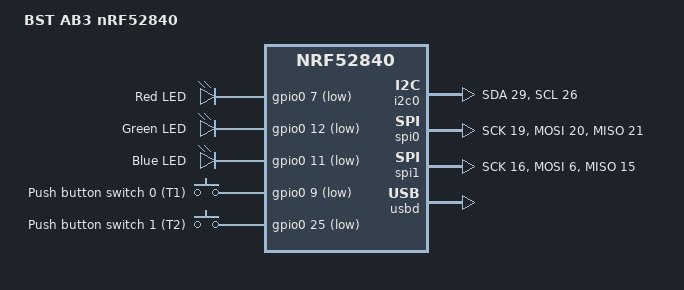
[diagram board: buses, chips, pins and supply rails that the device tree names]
/*
 * Copyright (c) 2022 Bosch Sensortec GmbH
 *
 * SPDX-License-Identifier: Apache-2.0
 */

/dts-v1/;
#include <nordic/nrf52840_qiaa.dtsi>

/ {
	model = "BST AB3 nRF52840";
	compatible = "nordic,bst_ab3_nrf52840";

	chosen {
		zephyr,console = &bst_ab3_cdc_acm_uart;
		zephyr,shell-uart = &bst_ab3_cdc_acm_uart;
		zephyr,bt-c2h-uart = &bst_ab3_cdc_acm_uart;
		zephyr,sram = &sram0;
		zephyr,flash = &flash0;
		zephyr,code-partition = &slot0_partition;
	};

	leds {
		compatible = "gpio-leds";
		led0: led_0 {
			gpios = <&gpio0 7 GPIO_ACTIVE_LOW>;
			label = "Red LED";
		};
		led1: led_1 {
			gpios = <&gpio0 12 GPIO_ACTIVE_LOW>;
			label = "Green LED";
		};
		led2: led_2 {
			gpios = <&gpio0 11 GPIO_ACTIVE_LOW>;
			label = "Blue LED";
		};
	};


	buttons {
		compatible = "gpio-keys";
		button0: button_0 {
			gpios = <&gpio0 9 (GPIO_PULL_UP | \
					    GPIO_ACTIVE_LOW)>;
			label = "Push button switch 0 (T1)";
		};
		button1: button_1 {
			gpios = <&gpio0 25 (GPIO_PULL_UP | \
					   GPIO_ACTIVE_LOW)>;
			label = "Push button switch 1 (T2)";
		};
	};

	

	/* These aliases are provided for compatibility with samples */
	aliases {
		led0 = &led0;
		led1 = &led1;
		led2 = &led2;
		sw0 = &button0;
		sw1 = &button1;
	};
};

&gpiote {
	status = "okay";
};

&gpio0 {
	status = "okay";
};

&gpio1 {
	status = "okay";
};

shuttle_i2c: &i2c0 {
	compatible = "nordic,nrf-twi";
	/* For Temperature I2C of Application Board 3.0 */
	status = "okay";
	sda-pin = <29>;
	scl-pin = <26>;
};

&spi0 {
	compatible = "nordic,nrf-spi";
	/* For External Flash SPI of Application Board 3.0 */
	/* status = "okay"; */
	sck-pin = <19>;
	mosi-pin = <20>;
	miso-pin = <21>;
};

&spi1 {
	compatible = "nordic,nrf-spi";
	/* For Shuttle Board SPI of Application Board 3.0 */
	status = "okay";
	sck-pin = <16>;
	mosi-pin = <6>;
	miso-pin = <15>;
};

&flash0 {

	partitions {
		compatible = "fixed-partitions";
		#address-cells = <1>;
		#size-cells = <1>;
		/*
		 * The following partitions are pre-flashed on Application Board 3.0
		 * 0x000000000 (160kB) : Nordic Semiconductor Soft Device S140 with Bluetooth Stack
		 * 0x000028000 (32kB)  : USB MTP Firmware
		 * 0x000030000 (768kB) : Application
		 * 0x0000f0000 (64kB)  : USB DFU Bootloader
		 * The range from 0x00030000 to 0x0000f0000 is avaiable for the application
		 * This is divided into slot0 (360kB), slot1 (360kB) and scratch (64kB) to enable firmware 
		 * upgrade feature. If this is not required, a single slot0 of 768kb can be defined
		 * Code RAM 0x00800000 (256kB)
		 */
		sd_partition: partition@0 {
			label = "nssd-s140";
			reg = <0x000000000 0x00028000>;
		};
		mtp_partition: partition@28000 {
			label = "usb-mtp";
			reg = <0x000028000 0x00008000>;
		};	
		slot0_partition: partition@30000 {
			label = "image-0";
			reg = <0x00030000 0x00058000>;
		};
		slot1_partition: partition@88000 {
			label = "image-1";
			reg = <0x00088000 0x00058000>;
		};
		scratch_partition: partition@e0000 {
			label = "image-scratch";
			reg = <0x000e0000 0x00010000>;
		};
		boot_partition: partition@f0000 {
			label = "mcuboot";
			reg = <0x000f0000 0x00010000>;
		};
	};
};

zephyr_udc0: &usbd {
	compatible = "nordic,nrf-usbd";
	status = "okay";
	
	bst_ab3_cdc_acm_uart: bst_ab3_cdc_acm_uart {
		compatible = "zephyr,cdc-acm-uart";
		label = "CDC_ACM_0";
	};
};
